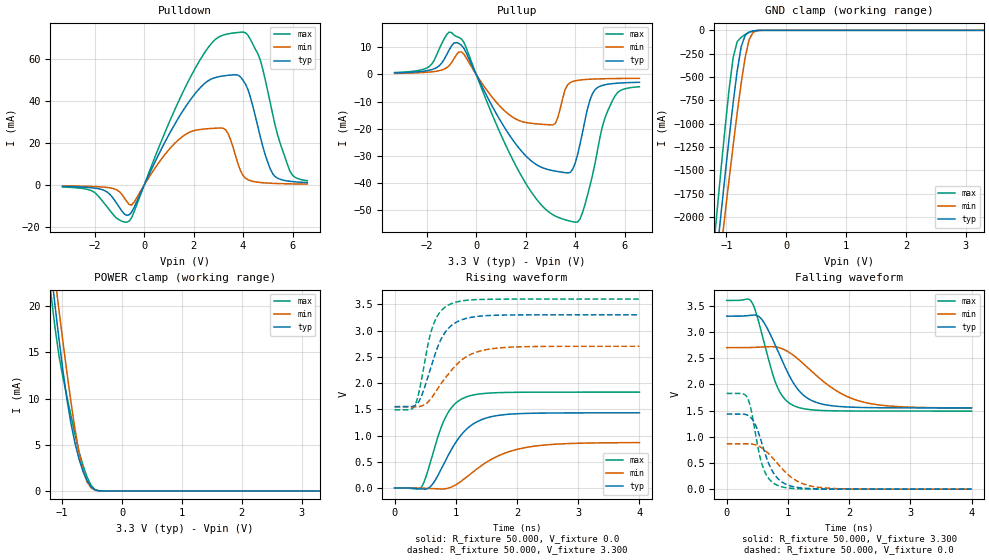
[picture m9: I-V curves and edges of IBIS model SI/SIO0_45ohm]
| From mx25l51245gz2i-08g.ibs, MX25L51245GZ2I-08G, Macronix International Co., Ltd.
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|   Model SI/SIO0_45ohm
[Model] SI/SIO0_45ohm
Model_type I/O
Vinl = 0.8
Vinh = 2.31
Vmeas = 1.65
Vref = 3.3
Cref = 30pF
Rref = 25000
Polarity   Non-Inverting
Enable   Active-High
C_comp   5.538pF   4.926pF   6.365pF
[Temperature Range]   25.000   85.000   -40.000
[Voltage Range]   3.300V   2.700V   3.600V
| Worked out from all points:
|   slope of the pulldown table from 0 to 0.495 V, typ, clamps not added: 39.9 ohm
|   slope of the pullup table from 0 to 0.495 V, typ, clamps not added: 54.4 ohm
|   GND clamp passes 1 mA (typ) near -0.46 V on its own axis
|   POWER clamp passes 1 mA (typ) near -0.57 V on its own axis
|   rising waveform, R_fixture 50.000, V_fixture 0.0: 20-80 % time 470ps typ, 731ps min, 333ps max; typ from 0 V to 1.43 V
|   rising waveform, R_fixture 50.000, V_fixture 3.300: 20-80 % time 331ps typ, 491ps min, 242ps max; typ from 1.55 V to 3.3 V
|   falling waveform, R_fixture 50.000, V_fixture 3.300: 20-80 % time 452ps typ, 768ps min, 316ps max; typ from 3.3 V to 1.55 V
|   falling waveform, R_fixture 50.000, V_fixture 0.0: 20-80 % time 279ps typ, 450ps min, 202ps max; typ from 1.43 V to 0 V
[Pulldown]
|Voltage   I(typ)   I(min)   I(max)
-3.3V     -550uA     -309uA     -840uA
-2.2V     -1.105mA   -542.2uA   -2.274mA
-1.6V     -2.52mA    -930.4uA   -8.738mA
-600mV    -14mA      -9.166mA   -16.97mA
1V        23.95mA    16.86mA    29.43mA
2V        42.55mA    25.86mA    54.08mA
3.3V      52.03mA    26.21mA    71.58mA
4V        49.84mA    4.609mA    72.67mA
4.7V      22.92mA    1.295mA    59.36mA
5.2V      5.424mA    897.8uA    33.59mA
5.9V      1.865mA    658.5uA    6.594mA
6.6V      1.265mA    539uA      2.144mA
[Pullup]
|Voltage   I(typ)   I(min)   I(max)
-3.3V     547.1uA    381uA      693.5uA
-1.9V     1.543mA    876.1uA    2.91mA
-1.1V     8.911mA    3.172mA    15.61mA
-600mV    10.79mA    8.334mA    13.08mA
1.9V      -29mA      -17.5mA    -38.57mA
3.2V      -35.66mA   -18.11mA   -52.23mA
3.6V      -36.22mA   -5.467mA   -53.61mA
4V        -32.78mA   -2.365mA   -54.49mA
4.3V      -21.33mA   -1.958mA   -50.89mA
4.8V      -5.689mA   -1.686mA   -32.99mA
5.6V      -3.311mA   -1.519mA   -8.13mA
6.6V      -2.896mA   -1.432mA   -4.539mA
[GND_clamp]
|Voltage   I(typ)   I(min)   I(max)
-3.3V     -16.26A    -15.32A    -17.42A
-1.223V   -2.789A    -3.098A    -2.397A
-1.156V   -2.37A     -2.716A    -1.934A
-1.089V   -1.956A    -2.336A    -1.48A
-1.022V   -1.549A    -1.962A    -1.041A
-888mV    -777.8mA   -1.235A    -293.3mA
-821mV    -438.6mA   -890.1mA   -121.9mA
-754mV    -178mA     -568.8mA   -75.51mA
-620mV    -19.48mA   -98.95mA   -20.55mA
-553mV    -6.969mA   -20.17mA   -6.693mA
-419mV    -222.9uA   -429.4uA   -105.6uA
3.3V      0A         0A         0A
[POWER_clamp]
|Voltage   I(typ)   I(min)   I(max)
-3.266V   152.7mA    145.5mA    161.8mA
-1.189V   23.95mA    26.75mA    21.39mA
-1.122V   20.15mA    23.14mA    17.74mA
-1.055V   16.48mA    19.6mA     14.66mA
-921mV    9.899mA    12.79mA    10.21mA
-854mV    7.291mA    9.606mA    8.157mA
-787mV    5.192mA    6.684mA    6.081mA
-720mV    3.463mA    4.167mA    4.258mA
-653mV    2.116mA    2.232mA    2.767mA
-586mV    1.136mA    979.3uA    1.522mA
-452mV    107.4uA    79.5uA     130.8uA
3.3V      0A         0A         0A
[Ramp]
| variable   typ   min   max
dV/dt_r   0.860/0.475n   0.519/0.736n   1.096/0.338n
dV/dt_f   1.050/0.460n   0.691/0.776n   1.266/0.324n
R_load = 50.000
[Rising Waveform]
R_fixture= 50.000
V_fixture= 0.0
V_fixture_min= 0.0
V_fixture_max= 0.0
|time   V(typ)   V(min)   V(max)
0s        1.502uV    1.532uV    1.416uV
436ps     -18.09mV   -3.172mV   16.14mV
507ps     -21mV      -6.083mV   195.3mV
608ps     55mV       -11.55mV   586.2mV
827ps     511.8mV    -15.39mV   1.336V
968ps     812mV      39.35mV    1.582V
1.158ns   1.101V     190.9mV    1.73V
1.508ns   1.337V     495.5mV    1.805V
2.098ns   1.42V      760.9mV    1.825V
4ns       1.433V     864.9mV    1.827V
[Rising Waveform]
R_fixture= 50.000
V_fixture= 3.300
V_fixture_min= 2.700
V_fixture_max= 3.600
|time   V(typ)   V(min)   V(max)
0s        1.55V      1.546V     1.49V
336ps     1.575V     1.545V     1.585V
438ps     1.748V     1.561V     2.056V
547ps     2.124V     1.639V     2.744V
626ps     2.421V     1.753V     3.089V
758ps     2.832V     1.986V     3.374V
907ps     3.075V     2.212V     3.502V
1.198ns   3.239V     2.518V     3.579V
1.588ns   3.289V     2.653V     3.597V
4ns       3.3V       2.7V       3.6V
[Falling Waveform]
R_fixture= 50.000
V_fixture= 3.300
V_fixture_min= 2.700
V_fixture_max= 3.600
|time   V(typ)   V(min)   V(max)
0s        3.3V       2.7V       3.6V
409ps     3.32V      2.703V     3.57V
575ps     3.237V     2.712V     2.962V
809ps     2.707V     2.712V     2.001V
929ps     2.393V     2.668V     1.746V
1.098ns   2.011V     2.547V     1.591V
1.455ns   1.659V     2.179V     1.507V
1.808ns   1.58V      1.866V     1.493V
2.163ns   1.56V      1.684V     1.491V
4ns       1.551V     1.549V     1.49V
[Falling Waveform]
R_fixture= 50.000
V_fixture= 0.0
V_fixture_min= 0.0
V_fixture_max= 0.0
|time   V(typ)   V(min)   V(max)
0s        1.433V     866.6mV    1.827V
339ps     1.412V     867.7mV    1.744V
390ps     1.37V      864.1mV    1.562V
465ps     1.238V     847.5mV    1.093V
589ps     823.1mV    774.7mV    430.4mV
715ps     413.8mV    642mV      164.8mV
845ps     191.6mV    470.3mV    65.8mV
1.138ns   36.58mV    162mV      9.962mV
1.495ns   6.022mV    36.29mV    1.609mV
4ns       219.2uV    126.7uV    280.8uV
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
